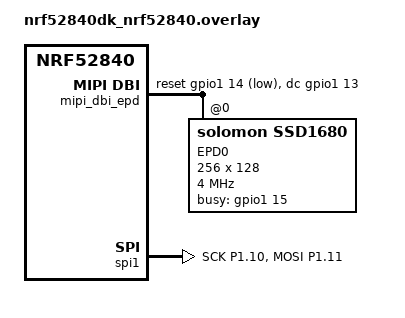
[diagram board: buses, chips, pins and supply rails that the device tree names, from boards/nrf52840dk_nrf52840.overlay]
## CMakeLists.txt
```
cmake_minimum_required(VERSION 3.20.0)
find_package(Zephyr REQUIRED HINTS $ENV{ZEPHYR_BASE})

project(ssd1680_display)

target_sources(app PRIVATE src/main.c)
```

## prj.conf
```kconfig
# ─────────────────────────────
# Low-level peripheral support
# ─────────────────────────────
CONFIG_SPI=y
CONFIG_SPI_NRFX=y
CONFIG_GPIO=y

# ─────────────────────────────
# Display driver
# ─────────────────────────────
CONFIG_DISPLAY=y
CONFIG_SSD16XX=y

# ─────────────────────────────
# LVGL (manual init; you call lv_init / register display yourself)
# ─────────────────────────────
CONFIG_LVGL=y
CONFIG_LV_Z_AUTO_INIT=n
# CONFIG_LV_Z_USE_DISPLAY is not present in this Zephyr; remove it.
CONFIG_LV_Z_BITS_PER_PIXEL=1
CONFIG_LV_Z_MEM_POOL_SIZE=24576

# ─────────────────────────────
# LVGL widgets / features (enable what you actually use)
# ─────────────────────────────
CONFIG_LV_USE_LABEL=y
CONFIG_LV_LABEL_TEXT_SELECTION=y
CONFIG_LV_LABEL_LONG_TXT_HINT=y
CONFIG_LV_USE_LINE=y
CONFIG_LV_USE_THEME_DEFAULT=y
CONFIG_LV_USE_IMAGE=y             # v9 name (was LV_USE_IMG)

# ─────────────────────────────
# Logging
# ─────────────────────────────
CONFIG_LOG=y
CONFIG_LOG_DEFAULT_LEVEL=3
CONFIG_DISPLAY_LOG_LEVEL_DBG=y
CONFIG_LV_USE_LOG=y
CONFIG_LV_LOG_LEVEL_INFO=y

# ─────────────────────────────
# Robustness / debug
# ─────────────────────────────
CONFIG_ASSERT=y
CONFIG_HW_STACK_PROTECTION=y

# ─────────────────────────────
# Memory / stacks
# ─────────────────────────────
CONFIG_MAIN_STACK_SIZE=8192
CONFIG_SYSTEM_WORKQUEUE_STACK_SIZE=3072

# ─────────────────────────────
# C library / printf
# ─────────────────────────────
CONFIG_NEWLIB_LIBC=y
CONFIG_NEWLIB_LIBC_NANO=y
CONFIG_NEWLIB_LIBC_FLOAT_PRINTF=y
CONFIG_CBPRINTF_FP_SUPPORT=y
```

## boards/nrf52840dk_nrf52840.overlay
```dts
#include <zephyr/dt-bindings/gpio/gpio.h>

/ {
    chosen {
        zephyr,display = &epd;
    };

    mipi_dbi_epd: mipi_dbi_epd {
        compatible = "zephyr,mipi-dbi-spi";
        spi-dev = <&spi1>;
        dc-gpios = <&gpio1 13 GPIO_ACTIVE_HIGH>;
        reset-gpios = <&gpio1 14 GPIO_ACTIVE_LOW>;
        #address-cells = <1>;
        #size-cells = <0>;

        epd: ssd16xxfb@0 {
            compatible = "solomon,ssd1680";
            status = "okay";
            reg = <0>;
            label = "EPD0";

            /* REQUIRED / USED BY DRIVER */
            width = <256>;
            height = <128>;
            rotation = <0>;
            busy-gpios = <&gpio1 15 GPIO_ACTIVE_HIGH>;
            mipi-max-frequency = <4000000>;

            /* Optional SSD16xx specifics */
            tssv = <0x80>;
            full    { border-waveform = <0x05>; };
            partial { border-waveform = <0x3c>; };
        };
    };
};

&spi1 {
    status = "okay";
    cs-gpios = <&gpio1 12 GPIO_ACTIVE_LOW>;
    pinctrl-0 = <&spi1_default>;
    pinctrl-1 = <&spi1_sleep>;
    pinctrl-names = "default", "sleep";
};


&pinctrl {
    spi1_default: spi1_default {
        group1 {
            psels = <NRF_PSEL(SPIM_SCK, 1, 10)>,
                    <NRF_PSEL(SPIM_MOSI, 1, 11)>;
        };
    };

    spi1_sleep: spi1_sleep {
        group1 {
            psels = <NRF_PSEL(SPIM_SCK, 1, 10)>,
                    <NRF_PSEL(SPIM_MOSI, 1, 11)>;
            low-power-enable;
        };
    };
};
```

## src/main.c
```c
// main.c — nRF52840 + Zephyr + LVGL v9 + SSD1680 (ssd16xx)

#include <zephyr/kernel.h>
#include <zephyr/device.h>
#include <zephyr/drivers/display.h>
#include <zephyr/sys/printk.h>
#include <lvgl.h>
#include <stdint.h>
#include <stdbool.h>
#include "Battery_Resized.c" // LVGL image asset

/* Logical canvas for LVGL (byte-aligned). The SSD1680’s physical area is
 * 250x122, so we clip to that inside the flush. */
#define PANEL_HOR_RES 256U
#define PANEL_VER_RES 128U

/* LVGL I1 draw buffer (add 8 bytes for the palette header LVGL prepends). */
#define DRAW_BUF_SIZE (((PANEL_HOR_RES * PANEL_VER_RES) / 8U) + 8U)
static uint8_t draw_buf[DRAW_BUF_SIZE];

static void epd_flush_cb(lv_display_t *disp, const lv_area_t *area,
                         uint8_t *px_map)
{
    const struct device *dev = (const struct device *)lv_display_get_user_data(disp);
    /* Skip the 8‑byte palette */
    px_map += 8;

    /* Clip the coordinates to the physical panel size */
    lv_coord_t x1 = area->x1;
    lv_coord_t y1 = area->y1;
    lv_coord_t x2 = area->x2;
    lv_coord_t y2 = area->y2;
    if (x2 >= 250)
    {
        x2 = 249;
    }
    if (y2 >= 122)
    {
        y2 = 121;
    }
    uint16_t w = (uint16_t)(x2 - x1 + 1);
    uint16_t h = (uint16_t)(y2 - y1 + 1);

    /* The SSD16xx driver uses vertical tiling: each byte contains 8
     * vertical pixels.  We convert the LVGL buffer into this format.
     * Use a static buffer sized for the worst case: width × ceil(height/8).
     */
    static uint8_t vtbuf[PANEL_HOR_RES * ((PANEL_VER_RES + 7) / 8)];
    uint16_t groups = (h + 7U) >> 3; /* number of 8‑row groups */
    for (uint16_t gx = 0; gx < w; gx++)
    {
        for (uint16_t gy = 0; gy < groups; gy++)
        {
            uint8_t out_byte = 0;
            for (uint8_t bit = 0; bit < 8; bit++)
            {
                uint16_t row = gy * 8U + bit;
                uint8_t bit_val = 0;
                if (row < h)
                {
                    /* Compute global coordinates */
                    lv_coord_t px = x1 + gx;
                    lv_coord_t py = y1 + row;
                    /* Compute index into source buffer (horizontal format) */
                    uint32_t pixel_index = (uint32_t)py * PANEL_HOR_RES + px;
                    uint32_t byte_index = pixel_index >> 3;
                    uint8_t bit_offset = pixel_index & 0x7;
                    /* For I1 format, MSB corresponds to leftmost pixel */
                    bit_val = (px_map[byte_index] >> (7 - bit_offset)) & 0x1U;
                }
                /* For MSB‑first displays, set bits from MSB to LSB */
                if (bit_val)
                {
                    out_byte |= (1U << (7 - bit));
                }
            }
            /* Store vertical tile */
            vtbuf[gy * w + gx] = out_byte;
        }
    }

    /* Prepare descriptor: width and pitch both equal the number of
     * columns (w).  Height remains the number of pixel rows (h).
     * Buffer size is w × groups bytes. */
    struct display_buffer_descriptor desc = {
        .buf_size = w * groups,
        .width = w,
        .pitch = w,
        /* The SSD16xx driver requires the height to be a multiple of 8
         * when the screen is vertically tiled.  Use groups*8 rather than
         * the clipped height to satisfy this constraint. */
        .height = (uint16_t)(groups * 8U),
    };
    int ret = display_write(dev, x1, y1, &desc, vtbuf);
    if (ret)
    {
        printk("display_write() failed: %d\n", ret);
    }
    lv_display_flush_ready(disp);
}

/* Rounder callback: ensures that LVGL only flushes areas starting and
 * ending on 8‑pixel boundaries.  This avoids partial bytes in the
 * pixel data and keeps the flush callback aligned. */
static void rounder_cb(lv_event_t *e)
{
    lv_area_t *a = (lv_area_t *)lv_event_get_param(e);
    a->x1 = (a->x1 & ~0x7);
    a->x2 = (a->x2 | 0x7);
    if (a->x2 >= PANEL_HOR_RES)
    {
        a->x2 = PANEL_HOR_RES - 1;
    }
}

int main(void)
{
    /* Bind the chosen display from Devicetree (your overlay points to ssd16xx). */
    const struct device *display_dev = DEVICE_DT_GET(DT_CHOSEN(zephyr_display));
    if (!device_is_ready(display_dev))
    {
        printk("Display device not ready\n");
        return 0;
    }
    printk("Display device: %p\n", display_dev);

    /* Pick a supported monochrome pixel format. */
    struct display_capabilities cap;
    display_get_capabilities(display_dev, &cap);
    printk("Display caps: formats=0x%x, x_res=%u y_res=%u\n",
           cap.supported_pixel_formats, cap.x_resolution, cap.y_resolution);

    int err = 0;
    if (cap.supported_pixel_formats & PIXEL_FORMAT_MONO01)
    {
        err = display_set_pixel_format(display_dev, PIXEL_FORMAT_MONO01);
    }
    else if (cap.supported_pixel_formats & PIXEL_FORMAT_MONO10)
    {
        err = display_set_pixel_format(display_dev, PIXEL_FORMAT_MONO10);
    }
    else
    {
        printk("No supported MONO pixel format\n");
    }
    if (err)
    {
        printk("display_set_pixel_format failed: %d\n", err);
    }

    /* LVGL init + display setup */
    lv_init();

    lv_display_t *disp = lv_display_create(PANEL_HOR_RES, PANEL_VER_RES);
    if (!disp)
    {
        printk("lv_display_create failed\n");
        return 0;
    }

    lv_display_set_color_format(disp, LV_COLOR_FORMAT_I1);
    lv_display_set_user_data(disp, (void *)display_dev);

    /* Single full-screen I1 buffer; LVGL will flush sub-areas. */
    lv_display_set_buffers(disp, draw_buf, NULL, sizeof(draw_buf),
                           LV_DISPLAY_RENDER_MODE_FULL);

    /* Register flush + rounder (rounder via v9 event). */
    lv_display_set_flush_cb(disp, epd_flush_cb);
    lv_display_add_event_cb(disp, rounder_cb, LV_EVENT_INVALIDATE_AREA, NULL);

    display_blanking_off(display_dev);

    /* Simple demo UI */
    lv_obj_t *label = lv_label_create(lv_screen_active());
    lv_label_set_text(label, "Hello from LVGL!");
    lv_obj_center(label);

    /* Force redraw the invalidated areas */
       lv_refr_now(lv_disp_get_default());

    k_sleep(K_SECONDS(5));
    extern const lv_image_dsc_t Battery_Resized;
    lv_obj_t *img = lv_image_create(lv_screen_active());
    lv_image_set_src(img, &Battery_Resized);
    lv_obj_center(img);

    /* LVGL tick/handler loop */
    while (true)
    {
        lv_timer_handler();
        k_msleep(50);
    }
}
```

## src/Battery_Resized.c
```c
#if defined(LV_LVGL_H_INCLUDE_SIMPLE)
#include "lvgl.h"
#elif defined(LV_LVGL_H_INCLUDE_SYSTEM)
#include <lvgl.h>
#elif defined(LV_BUILD_TEST)
#include "../lvgl.h"
#else
#include "lvgl.h"
#endif

#ifndef LV_ATTRIBUTE_MEM_ALIGN
#define LV_ATTRIBUTE_MEM_ALIGN
#endif

#ifndef LV_ATTRIBUTE_BATTERY_RESIZED
#define LV_ATTRIBUTE_BATTERY_RESIZED
#endif

static const
LV_ATTRIBUTE_MEM_ALIGN LV_ATTRIBUTE_LARGE_CONST LV_ATTRIBUTE_BATTERY_RESIZED
uint8_t Battery_Resized_map[] = {

    0x25,0x26,0x26,0xff,0xfd,0xfd,0xfd,0xff,

    0xff,0xff,0xff,0xff,0xff,0xff,0xff,0xff,0xff,0xff,0xff,0xff,0xff,0xff,0xff,0xff,0xff,0xff,0xff,0xff,0xff,0xff,0xff,0xff,0xff,0xff,
    0xff,0xff,0xff,0xff,0xff,0xff,0xff,0xff,0xff,0xff,0xff,0xff,0xff,0xff,0xff,0xff,0xff,0xff,0xff,0xff,0xff,0xff,0xff,0xff,0xff,0xff,
    0xff,0xff,0xff,0xff,0xff,0xff,0xff,0xff,0xff,0xff,0xff,0xff,0xff,0xff,0xff,0xff,0xff,0xff,0xff,0xff,0xff,0xff,0xff,0xff,0xff,0xff,
    0xff,0xff,0xff,0xff,0xff,0xff,0xff,0xff,0xff,0xff,0xff,0xff,0xff,0xff,0xff,0xff,0xff,0xff,0xff,0xff,0xff,0xff,0xff,0xff,0xff,0xff,
    0xff,0xff,0xff,0xff,0xff,0xff,0xff,0xff,0xff,0xff,0xff,0xff,0xff,0xff,0xff,0xff,0xff,0xff,0xff,0xff,0xff,0xff,0xff,0xff,0xff,0xff,
    0xff,0xff,0xff,0xff,0xff,0xff,0xff,0xff,0xff,0xff,0xff,0xff,0xff,0xff,0xff,0xff,0xff,0xff,0xff,0xff,0xff,0xff,0xff,0xff,0xff,0xff,
    0xff,0xff,0xff,0xff,0xff,0xff,0xff,0xff,0xff,0xff,0xff,0xff,0xff,0xff,0xff,0xff,0xff,0xff,0xff,0xff,0xff,0xff,0xff,0xff,0xff,0xff,
    0xff,0xff,0xff,0xff,0xff,0xff,0xff,0xff,0xff,0xff,0xff,0xff,0xff,0xff,0xff,0xff,0xff,0xff,0xff,0xff,0xff,0xff,0xff,0xff,0xff,0xff,
    0xff,0xff,0xff,0xff,0xff,0xff,0xff,0xff,0xff,0xff,0xff,0xff,0xff,0xff,0xff,0xff,0xff,0xff,0xff,0xff,0xff,0xff,0xff,0xff,0xff,0xff,
    0xff,0xff,0xff,0xff,0xff,0xff,0xff,0xff,0xff,0xff,0xff,0xff,0xff,0xff,0xff,0xff,0xff,0xff,0xff,0xff,0xff,0xff,0xff,0xff,0xff,0xff,
    0xff,0xff,0xff,0xff,0xff,0xff,0xff,0xff,0xff,0xff,0xff,0xff,0xff,0xff,0xff,0xff,0xff,0xff,0xff,0xff,0xff,0xff,0xff,0xff,0xff,0xff,
    0xff,0xff,0xf0,0x00,0x00,0x00,0x00,0x00,0x00,0x00,0x00,0x00,0x00,0x00,0x00,0x00,0x00,0x00,0x00,0x00,0x00,0x01,0xff,0xff,0xff,0xff,
    0xff,0xff,0xc0,0x00,0x00,0x00,0x00,0x00,0x00,0x00,0x00,0x00,0x00,0x00,0x00,0x00,0x00,0x00,0x00,0x00,0x00,0x00,0x7f,0xff,0xff,0xff,
    0xff,0xff,0x00,0x00,0x00,0x00,0x00,0x00,0x00,0x00,0x00,0x00,0x00,0x00,0x00,0x00,0x00,0x00,0x00,0x00,0x00,0x00,0x3f,0xff,0xff,0xff,
    0xff,0xfe,0x00,0x00,0x00,0x00,0x00,0x00,0x00,0x00,0x00,0x00,0x00,0x00,0x00,0x00,0x00,0x00,0x00,0x00,0x00,0x00,0x1f,0xff,0xff,0xff,
    0xff,0xfe,0x00,0x00,0x00,0x00,0x00,0x00,0x00,0x00,0x00,0x00,0x00,0x00,0x00,0x00,0x00,0x00,0x00,0x00,0x00,0x00,0x0f,0xff,0xff,0xff,
    0xff,0xfc,0x00,0x00,0x00,0x00,0x00,0x00,0x00,0x00,0x00,0x00,0x00,0x00,0x00,0x00,0x00,0x00,0x00,0x00,0x00,0x00,0x0f,0xff,0xff,0xff,
    0xff,0xfc,0x07,0xff,0xff,0xff,0xff,0xff,0xff,0xff,0xff,0xff,0xff,0xff,0xff,0xff,0xff,0xff,0xff,0xff,0xff,0xfc,0x07,0xff,0xff,0xff,
    0xff,0xfc,0x0f,0xff,0xff,0xff,0xff,0xff,0xff,0xff,0xff,0xff,0xff,0xff,0xff,0xff,0xff,0xff,0xff,0xff,0xff,0xfe,0x07,0xff,0xff,0xff,
    0xff,0xf8,0x1f,0xff,0xff,0xff,0xff,0xff,0xff,0xff,0xff,0xff,0xff,0xff,0xff,0xff,0xff,0xff,0xff,0xff,0xff,0xfe,0x07,0xff,0xff,0xff,
    0xff,0xfc,0x0f,0xff,0xff,0xff,0xff,0xff,0xff,0xff,0xff,0xff,0xff,0xff,0xff,0xff,0xff,0xff,0xff,0xff,0xff,0xfe,0x07,0xff,0xff,0xff,
    0xff,0xf8,0x1f,0xff,0xff,0xff,0xff,0xff,0xff,0xff,0xff,0xff,0xff,0xff,0xff,0xff,0xff,0xff,0xff,0xff,0xff,0xfe,0x07,0xff,0xff,0xff,
    0xff,0xfc,0x0f,0xff,0xff,0xff,0xff,0xff,0xff,0xff,0xff,0xff,0xff,0xff,0xff,0xff,0xff,0xff,0xff,0xff,0xff,0xfe,0x07,0xff,0xff,0xff,
    0xff,0xf8,0x1f,0xff,0xff,0xff,0xff,0xff,0xff,0xff,0xff,0xff,0xff,0xff,0xff,0xff,0xff,0xff,0xff,0xff,0xff,0xfe,0x07,0xff,0xff,0xff,
    0xff,0xfc,0x0f,0xff,0xff,0xff,0xff,0xff,0xff,0xff,0xff,0xff,0xff,0xff,0xff,0xff,0xff,0xff,0xff,0xff,0xff,0xfe,0x07,0xff,0xff,0xff,
    0xff,0xf8,0x1f,0xff,0xff,0xff,0xff,0xff,0xff,0xff,0xff,0xff,0xff,0xff,0xff,0xff,0xff,0xff,0xff,0xff,0xff,0xfe,0x07,0xff,0xff,0xff,
    0xff,0xfc,0x0f,0xff,0xff,0xff,0xff,0xff,0xff,0xff,0xff,0xff,0xff,0xff,0xff,0xff,0xff,0xff,0xff,0xff,0xff,0xfe,0x07,0xff,0xff,0xff,
    0xff,0xf8,0x1f,0xff,0xff,0xff,0xff,0xff,0xff,0xff,0xff,0xff,0xff,0xff,0xff,0xff,0xff,0xff,0xff,0xff,0xff,0xfe,0x07,0xff,0xff,0xff,
    0xff,0xfc,0x0f,0xff,0xff,0xff,0xff,0xff,0xff,0xff,0xff,0xff,0xff,0xff,0xff,0xff,0xff,0xff,0xff,0xff,0xff,0xfe,0x07,0xff,0xff,0xff,
    0xff,0xf8,0x1f,0xff,0xff,0xff,0xff,0xff,0xff,0xff,0xff,0xff,0xff,0xff,0xff,0xff,0xff,0xff,0xff,0xff,0xff,0xfe,0x07,0xff,0xff,0xff,
    0xff,0xfc,0x0f,0xff,0xff,0xff,0xff,0xff,0xff,0xff,0xff,0xff,0xff,0xff,0xff,0xff,0xff,0xff,0xff,0xff,0xff,0xfe,0x07,0xff,0xff,0xff,
    0xff,0xf8,0x1f,0xff,0xff,0xff,0xff,0xff,0xff,0xff,0xff,0xff,0xff,0xff,0xff,0xff,0xff,0xff,0xff,0xff,0xff,0xfe,0x00,0x00,0x01,0xff,
    0xff,0xfc,0x0f,0xff,0xff,0xff,0xff,0xff,0xff,0xff,0xff,0xff,0xff,0xff,0xff,0xff,0xff,0xff,0xff,0xff,0xff,0xfe,0x00,0x00,0x00,0xff,
    0xff,0xf8,0x1f,0xff,0xff,0xff,0xff,0xff,0xff,0xff,0xff,0xff,0xff,0xff,0xff,0xff,0xff,0xff,0xff,0xff,0xff,0xfe,0x00,0x00,0x00,0x7f,
    0xff,0xfc,0x0f,0xff,0xff,0xff,0xff,0xff,0xff,0xff,0xff,0xff,0xff,0xff,0xff,0xff,0xff,0xff,0xff,0xff,0xff,0xfe,0x00,0x00,0x00,0x7f,
    0xff,0xf8,0x1f,0xff,0xff,0xff,0xff,0xff,0xff,0xff,0xff,0xff,0xff,0xff,0xff,0xff,0xff,0xff,0xff,0xff,0xff,0xfe,0x00,0x00,0x00,0x7f,
    0xff,0xfc,0x0f,0xff,0xff,0xff,0xff,0xff,0xff,0xff,0xff,0xff,0xff,0xff,0xff,0xff,0xff,0xff,0xff,0xff,0xff,0xfe,0x00,0x00,0x00,0x7f,
    0xff,0xf8,0x1f,0xff,0xff,0xff,0xff,0xff,0xff,0xff,0xff,0xff,0xff,0xff,0xff,0xff,0xff,0xff,0xff,0xff,0xff,0xfe,0x03,0xff,0xe0,0x7f,
    0xff,0xfc,0x0f,0xff,0xff,0xff,0xff,0xff,0xff,0xff,0xff,0xff,0xff,0xff,0xff,0xff,0xff,0xff,0xff,0xff,0xff,0xfe,0x07,0xff,0xe0,0x7f,
    0xff,0xf8,0x1f,0xff,0xff,0xff,0xff,0xff,0xff,0xff,0xff,0xff,0xff,0xff,0xff,0xff,0xff,0xff,0xff,0xff,0xff,0xfe,0x07,0xff,0xe0,0x7f,
    0xff,0xfc,0x0f,0xff,0xff,0xff,0xff,0xff,0xff,0xff,0xff,0xff,0xff,0xff,0xff,0xff,0xff,0xff,0xff,0xff,0xff,0xfe,0x07,0xff,0xe0,0x7f,
    0xff,0xf8,0x1f,0xff,0xff,0xff,0xff,0xff,0xff,0xff,0xff,0xff,0xff,0xff,0xff,0xff,0xff,0xff,0xff,0xff,0xff,0xfe,0x07,0xff,0xe0,0x7f,
    0xff,0xfc,0x0f,0xff,0xff,0xff,0xff,0xff,0xff,0xff,0xff,0xff,0xff,0xff,0xff,0xff,0xff,0xff,0xff,0xff,0xff,0xfe,0x07,0xff,0xe0,0x7f,
    0xff,0xf8,0x1f,0xff,0xff,0xff,0xff,0xff,0xff,0xff,0xff,0xff,0xff,0xff,0xff,0xff,0xff,0xff,0xff,0xff,0xff,0xfe,0x07,0xff,0xe0,0x7f,
    0xff,0xfc,0x0f,0xff,0xff,0xff,0xff,0xff,0xff,0xff,0xff,0xff,0xff,0xff,0xff,0xff,0xff,0xff,0xff,0xff,0xff,0xfe,0x07,0xff,0xe0,0x7f,
    0xff,0xf8,0x1f,0xff,0xff,0xff,0xff,0xff,0xff,0xff,0xff,0xff,0xff,0xff,0xff,0xff,0xff,0xff,0x0f,0xff,0xff,0xfe,0x07,0xff,0xe0,0x7f,
    0xff,0xfc,0x0f,0xff,0xff,0xff,0xff,0xff,0xff,0xff,0xff,0xff,0xff,0xff,0xff,0xff,0xff,0xfe,0x07,0xff,0xff,0xfe,0x07,0xff,0xe0,0x7f,
    0xff,0xf8,0x1f,0xff,0xff,0xff,0xff,0xff,0xff,0xff,0xff,0xff,0xff,0xff,0xff,0xff,0xff,0xfe,0x07,0xff,0xff,0xfe,0x07,0xff,0xe0,0x7f,
    0xff,0xfc,0x0f,0xff,0xff,0xff,0xff,0xff,0xff,0xff,0xff,0xff,0xff,0xff,0xff,0xff,0xff,0xfe,0x07,0xff,0xff,0xfe,0x07,0xff,0xe0,0x7f,
    0xff,0xf8,0x1f,0xff,0xff,0xff,0xff,0xff,0xff,0xff,0xff,0xff,0xff,0xff,0xff,0xff,0xff,0xfe,0x07,0xff,0xff,0xfe,0x07,0xff,0xe0,0x7f,
    0xff,0xfc,0x0f,0xff,0xff,0xff,0xff,0xff,0xff,0xff,0xff,0xff,0xff,0xff,0xff,0xff,0xff,0xfe,0x07,0xff,0xff,0xfe,0x07,0xff,0xe0,0x7f,
    0xff,0xf8,0x1f,0xff,0xff,0xff,0xff,0xff,0xff,0xff,0xff,0xff,0xff,0xff,0xff,0xff,0xff,0xfe,0x07,0xff,0xff,0xfe,0x07,0xff,0xe0,0x7f,
    0xff,0xfc,0x0f,0xff,0xff,0xff,0xff,0xff,0xff,0xff,0xff,0xff,0xff,0xff,0xff,0xff,0xff,0xfe,0x07,0xff,0xff,0xfe,0x07,0xff,0xe0,0x7f,
    0xff,0xf8,0x1f,0xff,0xff,0xff,0xff,0xff,0xff,0xff,0xff,0xff,0xff,0xff,0xff,0xff,0xff,0xfe,0x07,0xff,0xff,0xfe,0x07,0xff,0xe0,0x7f,
    0xff,0xfc,0x0f,0xff,0xff,0xff,0xff,0xff,0xff,0xff,0xff,0xff,0xff,0xff,0xff,0xff,0xff,0xfe,0x07,0xff,0xff,0xfe,0x07,0xff,0xe0,0x7f,
    0xff,0xf8,0x1f,0xff,0xf0,0x00,0x00,0x0f,0xff,0xff,0xff,0xff,0xff,0xff,0xff,0xff,0xfc,0x00,0x00,0x03,0xff,0xfe,0x07,0xff,0xe0,0x7f,
    0xff,0xfc,0x0f,0xff,0xe0,0x00,0x00,0x07,0xff,0xff,0xff,0xff,0xff,0xff,0xff,0xff,0xf8,0x00,0x00,0x01,0xff,0xfe,0x07,0xff,0xe0,0x7f,
    0xff,0xf8,0x1f,0xff,0xe0,0x00,0x00,0x07,0xff,0xff,0xff,0xff,0xff,0xff,0xff,0xff,0xf8,0x00,0x00,0x01,0xff,0xfe,0x07,0xff,0xe0,0x7f,
    0xff,0xfc,0x0f,0xff,0xe0,0x00,0x00,0x07,0xff,0xff,0xff,0xff,0xff,0xff,0xff,0xff,0xf8,0x00,0x00,0x01,0xff,0xfe,0x07,0xff,0xe0,0x7f,
    0xff,0xf8,0x1f,0xff,0xf0,0x00,0x00,0x07,0xff,0xff,0xff,0xff,0xff,0xff,0xff,0xff,0xf8,0x00,0x00,0x03,0xff,0xfe,0x07,0xff,0xe0,0x7f,
    0xff,0xfc,0x0f,0xff,0xf8,0x00,0x00,0x1f,0xff,0xff,0xff,0xff,0xff,0xff,0xff,0xff,0xfe,0x00,0x00,0x07,0xff,0xfe,0x07,0xff,0xe0,0x7f,
    0xff,0xf8,0x1f,0xff,0xff,0xff,0xff,0xff,0xff,0xff,0xff,0xff,0xff,0xff,0xff,0xff,0xff,0xfe,0x07,0xff,0xff,0xfe,0x07,0xff,0xe0,0x7f,
    0xff,0xfc,0x0f,0xff,0xff,0xff,0xff,0xff,0xff,0xff,0xff,0xff,0xff,0xff,0xff,0xff,0xff,0xfe,0x07,0xff,0xff,0xfe,0x07,0xff,0xe0,0x7f,
    0xff,0xf8,0x1f,0xff,0xff,0xff,0xff,0xff,0xff,0xff,0xff,0xff,0xff,0xff,0xff,0xff,0xff,0xfe,0x07,0xff,0xff,0xfe,0x07,0xff,0xe0,0x7f,
    0xff,0xfc,0x0f,0xff,0xff,0xff,0xff,0xff,0xff,0xff,0xff,0xff,0xff,0xff,0xff,0xff,0xff,0xfe,0x07,0xff,0xff,0xfe,0x07,0xff,0xe0,0x7f,
    0xff,0xf8,0x1f,0xff,0xff,0xff,0xff,0xff,0xff,0xff,0xff,0xff,0xff,0xff,0xff,0xff,0xff,0xfe,0x07,0xff,0xff,0xfe,0x07,0xff,0xe0,0x7f,
    0xff,0xfc,0x0f,0xff,0xff,0xff,0xff,0xff,0xff,0xff,0xff,0xff,0xff,0xff,0xff,0xff,0xff,0xfe,0x07,0xff,0xff,0xfe,0x07,0xff,0xe0,0x7f,
    0xff,0xf8,0x1f,0xff,0xff,0xff,0xff,0xff,0xff,0xff,0xff,0xff,0xff,0xff,0xff,0xff,0xff,0xfe,0x07,0xff,0xff,0xfe,0x07,0xff,0xe0,0x7f,
    0xff,0xfc,0x0f,0xff,0xff,0xff,0xff,0xff,0xff,0xff,0xff,0xff,0xff,0xff,0xff,0xff,0xff,0xfe,0x07,0xff,0xff,0xfe,0x07,0xff,0xe0,0x7f,
    0xff,0xf8,0x1f,0xff,0xff,0xff,0xff,0xff,0xff,0xff,0xff,0xff,0xff,0xff,0xff,0xff,0xff,0xfe,0x0f,0xff,0xff,0xfe,0x07,0xff,0xe0,0x7f,
    0xff,0xfc,0x0f,0xff,0xff,0xff,0xff,0xff,0xff,0xff,0xff,0xff,0xff,0xff,0xff,0xff,0xff,0xff,0x9f,0xff,0xff,0xfe,0x07,0xff,0xe0,0x7f,
    0xff,0xf8,0x1f,0xff,0xff,0xff,0xff,0xff,0xff,0xff,0xff,0xff,0xff,0xff,0xff,0xff,0xff,0xff,0xff,0xff,0xff,0xfe,0x07,0xff,0xe0,0x7f,
    0xff,0xfc,0x0f,0xff,0xff,0xff,0xff,0xff,0xff,0xff,0xff,0xff,0xff,0xff,0xff,0xff,0xff,0xff,0xff,0xff,0xff,0xfe,0x07,0xff,0xe0,0x7f,
    0xff,0xf8,0x1f,0xff,0xff,0xff,0xff,0xff,0xff,0xff,0xff,0xff,0xff,0xff,0xff,0xff,0xff,0xff,0xff,0xff,0xff,0xfe,0x07,0xff,0xe0,0x7f,
    0xff,0xfc,0x0f,0xff,0xff,0xff,0xff,0xff,0xff,0xff,0xff,0xff,0xff,0xff,0xff,0xff,0xff,0xff,0xff,0xff,0xff,0xfe,0x07,0xff,0xe0,0x7f,
    0xff,0xf8,0x1f,0xff,0xff,0xff,0xff,0xff,0xff,0xff,0xff,0xff,0xff,0xff,0xff,0xff,0xff,0xff,0xff,0xff,0xff,0xfe,0x07,0xff,0xe0,0x7f,
    0xff,0xfc,0x0f,0xff,0xff,0xff,0xff,0xff,0xff,0xff,0xff,0xff,0xff,0xff,0xff,0xff,0xff,0xff,0xff,0xff,0xff,0xfe,0x07,0xff,0xe0,0x7f,
    0xff,0xf8,0x1f,0xff,0xff,0xff,0xff,0xff,0xff,0xff,0xff,0xff,0xff,0xff,0xff,0xff,0xff,0xff,0xff,0xff,0xff,0xfe,0x03,0xff,0xe0,0x7f,
    0xff,0xfc,0x0f,0xff,0xff,0xff,0xff,0xff,0xff,0xff,0xff,0xff,0xff,0xff,0xff,0xff,0xff,0xff,0xff,0xff,0xff,0xfe,0x01,0xfd,0xc0,0x7f,
    0xff,0xf8,0x1f,0xff,0xff,0xff,0xff,0xff,0xff,0xff,0xff,0xff,0xff,0xff,0xff,0xff,0xff,0xff,0xff,0xff,0xff,0xfe,0x00,0x00,0x00,0x7f,
    0xff,0xfc,0x0f,0xff,0xff,0xff,0xff,0xff,0xff,0xff,0xff,0xff,0xff,0xff,0xff,0xff,0xff,0xff,0xff,0xff,0xff,0xfe,0x00,0x00,0x00,0x7f,
    0xff,0xf8,0x1f,0xff,0xff,0xff,0xff,0xff,0xff,0xff,0xff,0xff,0xff,0xff,0xff,0xff,0xff,0xff,0xff,0xff,0xff,0xfe,0x00,0x00,0x00,0x7f,
    0xff,0xfc,0x0f,0xff,0xff,0xff,0xff,0xff,0xff,0xff,0xff,0xff,0xff,0xff,0xff,0xff,0xff,0xff,0xff,0xff,0xff,0xfe,0x00,0x00,0x00,0x7f,
    0xff,0xf8,0x1f,0xff,0xff,0xff,0xff,0xff,0xff,0xff,0xff,0xff,0xff,0xff,0xff,0xff,0xff,0xff,0xff,0xff,0xff,0xfe,0x00,0x00,0x00,0xff,
    0xff,0xfc,0x0f,0xff,0xff,0xff,0xff,0xff,0xff,0xff,0xff,0xff,0xff,0xff,0xff,0xff,0xff,0xff,0xff,0xff,0xff,0xfe,0x06,0xaa,0xab,0xff,
    0xff,0xf8,0x1f,0xff,0xff,0xff,0xff,0xff,0xff,0xff,0xff,0xff,0xff,0xff,0xff,0xff,0xff,0xff,0xff,0xff,0xff,0xfe,0x07,0xff,0xff,0xff,
    0xff,0xfc,0x0f,0xff,0xff,0xff,0xff,0xff,0xff,0xff,0xff,0xff,0xff,0xff,0xff,0xff,0xff,0xff,0xff,0xff,0xff,0xfe,0x07,0xff,0xff,0xff,
    0xff,0xf8,0x1f,0xff,0xff,0xff,0xff,0xff,0xff,0xff,0xff,0xff,0xff,0xff,0xff,0xff,0xff,0xff,0xff,0xff,0xff,0xfe,0x07,0xff,0xff,0xff,
    0xff,0xfc,0x0f,0xff,0xff,0xff,0xff,0xff,0xff,0xff,0xff,0xff,0xff,0xff,0xff,0xff,0xff,0xff,0xff,0xff,0xff,0xfe,0x07,0xff,0xff,0xff,
    0xff,0xf8,0x1f,0xff,0xff,0xff,0xff,0xff,0xff,0xff,0xff,0xff,0xff,0xff,0xff,0xff,0xff,0xff,0xff,0xff,0xff,0xfe,0x07,0xff,0xff,0xff,
    0xff,0xfc,0x0f,0xff,0xff,0xff,0xff,0xff,0xff,0xff,0xff,0xff,0xff,0xff,0xff,0xff,0xff,0xff,0xff,0xff,0xff,0xfe,0x07,0xff,0xff,0xff,
    0xff,0xf8,0x1f,0xff,0xff,0xff,0xff,0xff,0xff,0xff,0xff,0xff,0xff,0xff,0xff,0xff,0xff,0xff,0xff,0xff,0xff,0xfe,0x07,0xff,0xff,0xff,
    0xff,0xfc,0x0f,0xff,0xff,0xff,0xff,0xff,0xff,0xff,0xff,0xff,0xff,0xff,0xff,0xff,0xff,0xff,0xff,0xff,0xff,0xfe,0x07,0xff,0xff,0xff,
    0xff,0xf8,0x1f,0xff,0xff,0xff,0xff,0xff,0xff,0xff,0xff,0xff,0xff,0xff,0xff,0xff,0xff,0xff,0xff,0xff,0xff,0xfe,0x07,0xff,0xff,0xff,
    0xff,0xfc,0x0f,0xff,0xff,0xff,0xff,0xff,0xff,0xff,0xff,0xff,0xff,0xff,0xff,0xff,0xff,0xff,0xff,0xff,0xff,0xfe,0x07,0xff,0xff,0xff,
    0xff,0xf8,0x1f,0xff,0xff,0xff,0xff,0xff,0xff,0xff,0xff,0xff,0xff,0xff,0xff,0xff,0xff,0xff,0xff,0xff,0xff,0xfe,0x07,0xff,0xff,0xff,
    0xff,0xfc,0x0f,0xff,0xff,0xff,0xff,0xff,0xff,0xff,0xff,0xff,0xff,0xff,0xff,0xff,0xff,0xff,0xff,0xff,0xff,0xfe,0x07,0xff,0xff,0xff,
    0xff,0xfc,0x0f,0xff,0xff,0xff,0xff,0xff,0xff,0xff,0xff,0xff,0xff,0xff,0xff,0xff,0xff,0xff,0xff,0xff,0xff,0xfe,0x07,0xff,0xff,0xff,
    0xff,0xfc,0x07,0xff,0xff,0xff,0xff,0xff,0xff,0xff,0xff,0xff,0xff,0xff,0xff,0xff,0xff,0xff,0xff,0xff,0xff,0xf0,0x07,0xff,0xff,0xff,
    0xff,0xfc,0x00,0x00,0x00,0x00,0x00,0x00,0x00,0x00,0x00,0x00,0x00,0x00,0x00,0x00,0x00,0x00,0x00,0x00,0x00,0x00,0x0f,0xff,0xff,0xff,
    0xff,0xfe,0x00,0x00,0x00,0x00,0x00,0x00,0x00,0x00,0x00,0x00,0x00,0x00,0x00,0x00,0x00,0x00,0x00,0x00,0x00,0x00,0x0f,0xff,0xff,0xff,
    0xff,0xff,0x00,0x00,0x00,0x00,0x00,0x00,0x00,0x00,0x00,0x00,0x00,0x00,0x00,0x00,0x00,0x00,0x00,0x00,0x00,0x00,0x1f,0xff,0xff,0xff,
    0xff,0xff,0x80,0x00,0x00,0x00,0x00,0x00,0x00,0x00,0x00,0x00,0x00,0x00,0x00,0x00,0x00,0x00,0x00,0x00,0x00,0x00,0x3f,0xff,0xff,0xff,
    0xff,0xff,0xc0,0x00,0x00,0x00,0x00,0x00,0x00,0x00,0x00,0x00,0x00,0x00,0x00,0x00,0x00,0x00,0x00,0x00,0x00,0x00,0xff,0xff,0xff,0xff,
    0xff,0xff,0xfd,0x55,0x55,0x55,0x55,0x55,0x55,0x55,0x55,0x55,0x55,0x55,0x55,0x55,0x55,0x55,0x55,0x55,0x56,0xaf,0xff,0xff,0xff,0xff,
    0xff,0xff,0xff,0xff,0xff,0xff,0xff,0xff,0xff,0xff,0xff,0xff,0xff,0xff,0xff,0xff,0xff,0xff,0xff,0xff,0xff,0xff,0xff,0xff,0xff,0xff,
    0xff,0xff,0xff,0xff,0xff,0xff,0xff,0xff,0xff,0xff,0xff,0xff,0xff,0xff,0xff,0xff,0xff,0xff,0xff,0xff,0xff,0xff,0xff,0xff,0xff,0xff,
    0xff,0xff,0xff,0xff,0xff,0xff,0xff,0xff,0xff,0xff,0xff,0xff,0xff,0xff,0xff,0xff,0xff,0xff,0xff,0xff,0xff,0xff,0xff,0xff,0xff,0xff,
    0xff,0xff,0xff,0xff,0xff,0xff,0xff,0xff,0xff,0xff,0xff,0xff,0xff,0xff,0xff,0xff,0xff,0xff,0xff,0xff,0xff,0xff,0xff,0xff,0xff,0xff,
    0xff,0xff,0xff,0xff,0xff,0xff,0xff,0xff,0xff,0xff,0xff,0xff,0xff,0xff,0xff,0xff,0xff,0xff,0xff,0xff,0xff,0xff,0xff,0xff,0xff,0xff,
    0xff,0xff,0xff,0xff,0xff,0xff,0xff,0xff,0xff,0xff,0xff,0xff,0xff,0xff,0xff,0xff,0xff,0xff,0xff,0xff,0xff,0xff,0xff,0xff,0xff,0xff,
    0xff,0xff,0xff,0xff,0xff,0xff,0xff,0xff,0xff,0xff,0xff,0xff,0xff,0xff,0xff,0xff,0xff,0xff,0xff,0xff,0xff,0xff,0xff,0xff,0xff,0xff,
    0xff,0xff,0xff,0xff,0xff,0xff,0xff,0xff,0xff,0xff,0xff,0xff,0xff,0xff,0xff,0xff,0xff,0xff,0xff,0xff,0xff,0xff,0xff,0xff,0xff,0xff,
    0xff,0xff,0xff,0xff,0xff,0xff,0xff,0xff,0xff,0xff,0xff,0xff,0xff,0xff,0xff,0xff,0xff,0xff,0xff,0xff,0xff,0xff,0xff,0xff,0xff,0xff,
    0xff,0xff,0xff,0xff,0xff,0xff,0xff,0xff,0xff,0xff,0xff,0xff,0xff,0xff,0xff,0xff,0xff,0xff,0xff,0xff,0xff,0xff,0xff,0xff,0xff,0xff,
    0xff,0xff,0xff,0xff,0xff,0xff,0xff,0xff,0xff,0xff,0xff,0xff,0xff,0xff,0xff,0xff,0xff,0xff,0xff,0xff,0xff,0xff,0xff,0xff,0xff,0xff,
    0xff,0xff,0xff,0xff,0xff,0xff,0xff,0xff,0xff,0xff,0xff,0xff,0xff,0xff,0xff,0xff,0xff,0xff,0xff,0xff,0xff,0xff,0xff,0xff,0xff,0xff,
    0xff,0xff,0xff,0xff,0xff,0xff,0xff,0xff,0xff,0xff,0xff,0xff,0xff,0xff,0xff,0xff,0xff,0xff,0xff,0xff,0xff,0xff,0xff,0xff,0xff,0xff,
    0xff,0xff,0xff,0xff,0xff,0xff,0xff,0xff,0xff,0xff,0xff,0xff,0xff,0xff,0xff,0xff,0xff,0xff,0xff,0xff,0xff,0xff,0xff,0xff,0xff,0xff,
    0xff,0xff,0xff,0xff,0xff,0xff,0xff,0xff,0xff,0xff,0xff,0xff,0xff,0xff,0xff,0xff,0xff,0xff,0xff,0xff,0xff,0xff,0xff,0xff,0xff,0xff,

};

const lv_image_dsc_t Battery_Resized = {
  .header = {
    .magic = LV_IMAGE_HEADER_MAGIC,
    .cf = LV_COLOR_FORMAT_I1,
    .flags = 0,
    .w = 208,
    .h = 120,
    .stride = 26,
    .reserved_2 = 0,
  },
  .data_size = sizeof(Battery_Resized_map),
  .data = Battery_Resized_map,
  .reserved = NULL,
};
```
